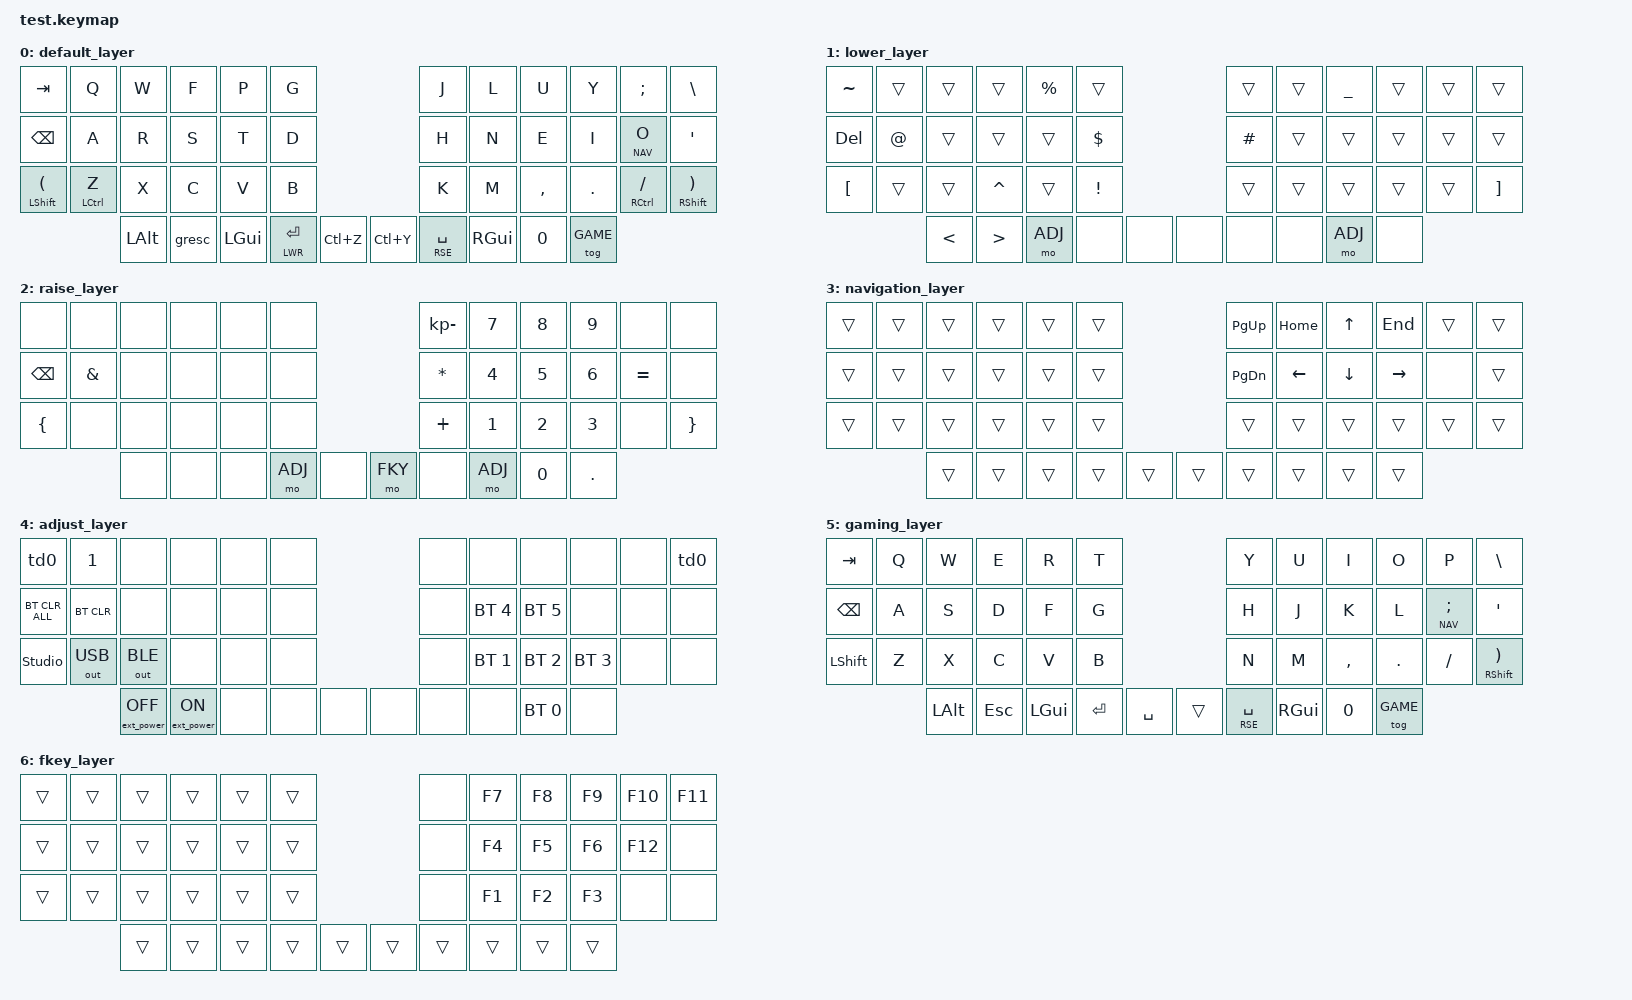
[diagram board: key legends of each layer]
#include <behaviors.dtsi>
#include <dt-bindings/zmk/keys.h>
#include <dt-bindings/zmk/bt.h>
#include <dt-bindings/zmk/ext_power.h>
#include <dt-bindings/zmk/outputs.h>

#define DEF 0
#define LWR 1
#define RSE 2
#define NAV 3
#define ADJ 4
#define GAME  5
#define FKY  6

// https://keymap-drawer.streamlit.app/
/ {
    behaviors {
        td0: tap_dance_0 {
            compatible = "zmk,behavior-tap-dance";
            #binding-cells = <0>;
            bindings = <&sys_reset>, <&bootloader>;
            tapping-term-ms = <200>;
        };
    };
    keymap {
        compatible = "zmk,keymap";
        default_layer {
			bindings = <
&kp TAB        &kp Q        &kp W             &kp F            &kp P     &kp G                           	                       &kp J        &kp L        &kp U        &kp Y        &kp SEMI       &kp BSLH
&kp BSPC       &kp A        &kp R             &kp S            &kp T     &kp D                           	                       &kp H        &kp N        &kp E        &kp I        &lt NAV O      &kp SQT
&mt LSHFT LPAR &mt LCTRL Z  &kp X             &kp C            &kp V     &kp B                           	                       &kp K        &kp M        &kp COMMA    &kp DOT      &mt RCTRL FSLH &mt RSHFT RPAR
                            &kp LALT          &gresc           &kp LGUI  &lt LWR RET &kp LC(Z) &kp LC(Y) 	&lt RSE SPACE &kp RGUI &kp N0       &tog GAME
            >;
        };
        lower_layer {
			bindings = <
&kp TILDE      &trans       &trans            &trans           &kp PRCNT &trans                          	                       &trans       &trans       &kp UNDER    &trans       &trans         &trans
&kp DEL        &kp AT       &trans            &trans           &trans    &kp DLLR                        	                       &kp HASH     &trans       &trans       &trans       &trans         &trans
&kp LBKT       &trans       &trans            &kp CARET        &trans    &kp EXCL                        	                       &trans       &trans       &trans       &trans       &trans         &kp RBKT
                            &kp LT            &kp GT           &mo ADJ   &none       &none     &none     	&none         &none    &mo ADJ      &none
            >;
        };
        raise_layer {
			bindings = <
&none          &none        &none             &none            &none     &none                           	                       &kp KP_MINUS &kp N7       &kp N8       &kp N9       &none          &none
&kp BSPC       &kp AMPS     &none             &none            &none     &none                           	                       &kp ASTRK    &kp N4       &kp N5       &kp N6       &kp EQUAL      &none
&kp LBRC       &none        &none             &none            &none     &none                           	                       &kp PLUS     &kp N1       &kp N2       &kp N3       &none          &kp RBRC
                            &none             &none            &none     &mo ADJ     &none     &mo FKY   	&none         &mo ADJ  &kp N0       &kp DOT
            >;
        };
        navigation_layer {
			bindings = <
&trans         &trans       &trans            &trans           &trans    &trans                          	                       &kp PG_UP    &kp HOME     &kp UP       &kp END      &trans         &trans
&trans         &trans       &trans            &trans           &trans    &trans                          	                       &kp PG_DN    &kp LEFT     &kp DOWN     &kp RIGHT    &none          &trans
&trans         &trans       &trans            &trans           &trans    &trans                          	                       &trans       &trans       &trans       &trans       &trans         &trans
                            &trans            &trans           &trans    &trans      &trans    &trans    	&trans        &trans   &trans       &trans
            >;
        };
        adjust_layer {
			bindings = <
&td0           &kp N1       &none             &none            &none     &none                           	                       &none        &none        &none        &none        &none          &td0
&bt BT_CLR_ALL &bt BT_CLR   &none             &none            &none     &none                           	                       &none        &bt BT_SEL 4 &bt BT_SEL 5 &none        &none          &none
&studio_unlock &out OUT_USB &out OUT_BLE      &none            &none     &none                           	                       &none        &bt BT_SEL 1 &bt BT_SEL 2 &bt BT_SEL 3 &none          &none
                            &ext_power EP_OFF &ext_power EP_ON &none     &none       &none     &none     	&none         &none    &bt BT_SEL 0 &none
            >;
		};
		// no funky layer business on left hand. Right hand layers are kept to allow typing special characters
		gaming_layer {
			bindings = <
&kp TAB        &kp Q        &kp W             &kp E            &kp R     &kp T                           	                       &kp Y        &kp U        &kp I        &kp O        &kp P          &kp BSLH
&kp BSPC       &kp A        &kp S             &kp D            &kp F     &kp G                           	                       &kp H        &kp J        &kp K        &kp L        &lt NAV SEMI   &kp SQT
&kp LSHFT      &kp Z        &kp X             &kp C            &kp V     &kp B                           	                       &kp N        &kp M        &kp COMMA    &kp DOT      &kp FSLH       &mt RSHFT RPAR
                            &kp LALT          &kp ESC          &kp LGUI  &kp RET     &kp SPACE &trans    	&lt RSE SPACE &kp RGUI &kp N0       &tog GAME
            >;
		};
		fkey_layer {
			bindings = <
&trans         &trans       &trans            &trans           &trans    &trans                          	                       &none        &kp F7       &kp F8       &kp F9       &kp F10        &kp F11
&trans         &trans       &trans            &trans           &trans    &trans                          	                       &none        &kp F4       &kp F5       &kp F6       &kp F12        &none
&trans         &trans       &trans            &trans           &trans    &trans                          	                       &none        &kp F1       &kp F2       &kp F3       &none          &none
                            &trans            &trans           &trans    &trans      &trans    &trans    	&trans        &trans   &trans       &trans
            >;
		};

        extra1 {
            status = "reserved";
        };

        extra2 {
            status = "reserved";
        };
    };
};
